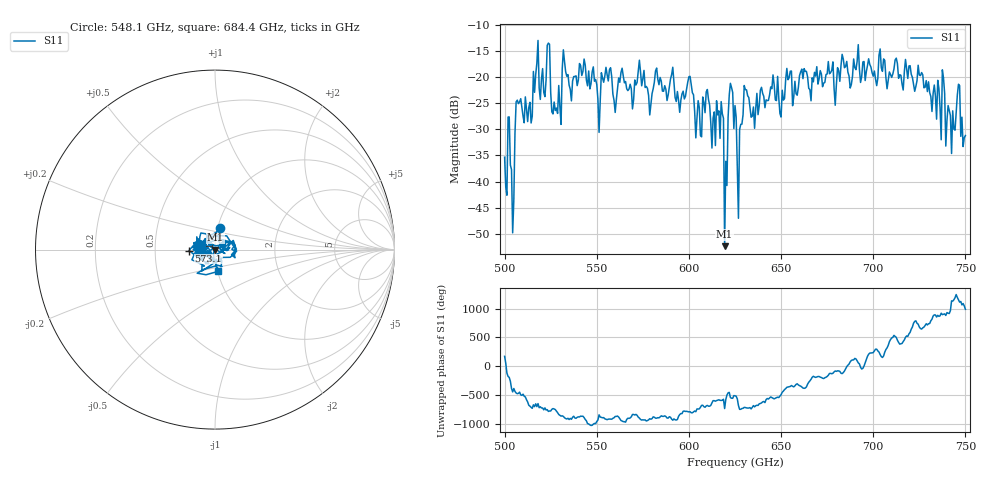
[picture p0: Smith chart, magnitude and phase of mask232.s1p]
!Created with skrf (http://scikit-rf.org).
# GHz S MA R 50.0
!freq magS11 angS11
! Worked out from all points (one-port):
!   401 points, 500 GHz to 750 GHz, reference 50 ohm
!   lowest |S11| = -52.4 dB at 619.4 GHz (marker M1), VSWR 1.00, Z = 50.2 - j0.0532 ohm
!   |S11| at or under -10 dB: start of sweep to end of sweep
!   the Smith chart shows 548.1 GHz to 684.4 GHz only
!   S11 on the Smith chart (normalised r, x): 548.1 GHz: 1.03, +0.25; 573.1 GHz: 0.75, -0.01; 684.4 GHz: 1.00, -0.25
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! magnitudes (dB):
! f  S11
! 500 GHz  -35.3
! 502.5 GHz  -27.6
! 504.4 GHz  -49.8
! 507.5 GHz  -25.1
! 513.8 GHz  -24.8
! 516.9 GHz  -19.5
! 523.8 GHz  -13.5
! 526.9 GHz  -24.8
! 531.2 GHz  -18.5
! 548.1 GHz  -18.1
! 562.5 GHz  -21.0
! 573.1 GHz  -16.8
! 593.8 GHz  -22.8
! 616.2 GHz  -26.5
! 619.4 GHz  -52.4
! 620.6 GHz  -40.8
! 622.5 GHz  -21.2
! 625 GHz  -25.5
! 627.5 GHz  -30.0
! 631.2 GHz  -22.5
! 635 GHz  -25.7
! 656.2 GHz  -25.5
! 684.4 GHz  -18.2
! 687.5 GHz  -22.1
! 718.8 GHz  -20.3
! 743.1 GHz  -26.5
! 746.9 GHz  -21.6
! 750 GHz  -31.2
